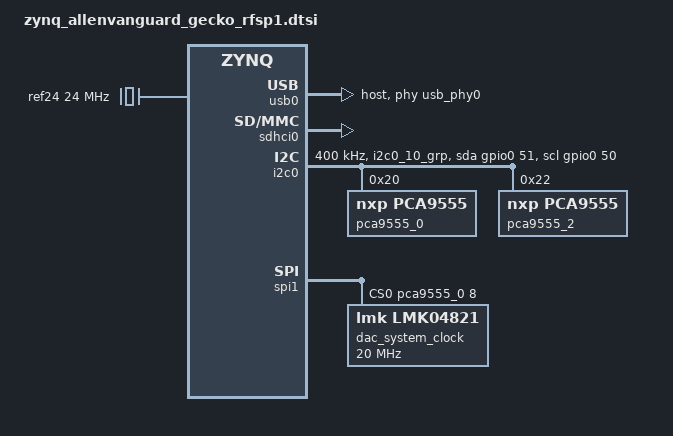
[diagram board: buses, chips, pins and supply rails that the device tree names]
/ {
    aliases {
        spi1 = &spi1;
    };

    usb_phy0: phy0 {
        compatible = "ulpi-phy";
        #phy-cells = <0>;
        reg = <0xe0002000 0x1000>;
        view-port = <0x0170>;
        drv-vbus;
    };
};

&usb0 {
    status = "okay";
    dr_mode = "host";
    usb-phy = <&usb_phy0>;
};

&sdhci0 {
	u-boot,dm-pre-reloc;
	status = "okay";
	disable-wp;
};

&amba {
    ref24: ref24M {
        compatible = "fixed-clock";
        #clock-cells = <0>;
        clock-frequency = <24000000>;
    };
};

&pinctrl0 {
    pinctrl_i2c0_default: i2c0-default {
        mux {
            groups = "i2c0_10_grp";
            function = "i2c0";
        };

        conf {
            groups = "i2c0_10_grp";
            bias-pull-up;
            slew-rate = <0>;
            io-standard = <1>;
        };
    };

    pinctrl_i2c0_gpio: i2c0-gpio {
        mux {
            groups = "gpio0_50_grp", "gpio0_51_grp";
            function = "gpio0";
        };

        conf {
            groups = "gpio0_50_grp", "gpio0_51_grp";
            slew-rate = <0>;
            io-standard = <1>;
        };
    };
};

#include <dt-bindings/gpio/gpio.h>

&i2c0 {
    status = "okay";
    clock-frequency = <400000>;
    pinctrl-names = "default", "gpio";
    pinctrl-0 = <&pinctrl_i2c0_default>;
    pinctrl-1 = <&pinctrl_i2c0_gpio>;
    scl-gpios = <&gpio0 50 0>;
    sda-gpios = <&gpio0 51 0>;

    pca9555_0: pca9555@20 {
        status = "okay";
        compatible = "nxp,pca9555";
        gpio-controller;
        #gpio-cells = <2>;
        reg = <0x20>;
        gpio-line-names =
            "DDS_PROFILE1", "DDS_PROFILE2", "DDS_CLK_CS", "DDS_PLL_LD",
            "DAC_TX_ENABLE", "CLK_GEN_SYNC", "DAC_RESETB", "EEPROM_CS",
            "CLK_GEN_CS", "CLK_GEN_RST", "CLK_GEN_LD1", "CLK_GEN_LD2",
            "DAC_CS", "RF_ADC_CS", "DDS_PROFILE0", "DAC_ALARM";
    };

    pca9555_2: pca9555@22 {
        status = "okay";
        compatible = "nxp,pca9555";
        gpio-controller;
        #gpio-cells = <2>;
        reg = <0x22>;
        gpio-line-names =
            "RX_PLL1_LD", "RX_PLL2_LD", "RX_PLL3_LD", "RX_PLL4_LD",
            "RX_PLL1_CS", "RX_PLL2_CS", "RX_PLL3_CS", "RX_PLL4_CS",
            "TX_PLL1_LD", "TX_PLL2_LD", "TX_PLL3_LD", "TX_PLL4_LD",
            "TX_PLL1_CS", "TX_PLL2_CS", "TX_PLL3_CS", "TX_PLL4_CS";
    };
};

&spi1 {
    status = "okay";
    #address-cells = <1>;
    #size-cells = <0>;
    is-decoded-cs = <0>;
    num-cs = <1>;
    cs-gpios = <&pca9555_0 8 GPIO_ACTIVE_HIGH>;

    dac_system_clock: clock-generator@0{
        status = "okay";
        compatible = "lmk,lmk04821";
        spi-max-frequency = <20000000>;
        reg = <0x00>;

        clk-gen-cs  = <&pca9555_0  8 GPIO_ACTIVE_HIGH>;
        clk-gen-rst = <&pca9555_0  9 GPIO_ACTIVE_HIGH>;
        clk-gen-ld1 = <&pca9555_0 10 GPIO_ACTIVE_HIGH>;
        clk-gen-ld2 = <&pca9555_0 11 GPIO_ACTIVE_HIGH>;
    };
};
